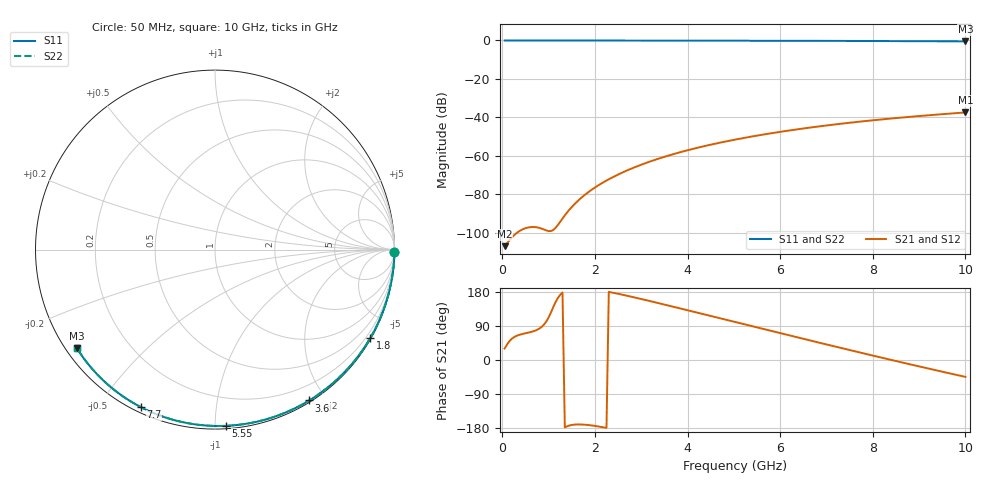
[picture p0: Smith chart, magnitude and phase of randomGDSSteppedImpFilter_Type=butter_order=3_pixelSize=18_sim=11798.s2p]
! freq	dB(S11)	phase(S11)	dB(S12)	phase(S12)
!  dB(S21)	phase(S21)	dB(S22)	phase(S22)
!S-par simulation data
#  GHz  S  DB  R 50
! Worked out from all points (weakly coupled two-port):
!   200 points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, 50 MHz to 10 GHz, reference 50 ohm
!   highest |S21| = -37.46 dB at 10 GHz (marker M1); lowest = -107.0 dB at 50 MHz (marker M2)
!   lowest |S11| = -0.5 dB at 10 GHz (marker M3), VSWR 35.49, Z = 1.55 - j15.9 ohm
!   |S11| at or under -10 dB: nowhere
!   |S22| runs from -0.5 to 0.0 dB; largest |S21 - S12| = 0
!   S11 on the Smith chart (normalised r, x): 50 MHz: open; 1.8 GHz: 0.03, -3.77; 3.6 GHz: 0.02, -1.80; 5.55 GHz: 0.02, -1.06; 7.7 GHz: 0.02, -0.63; 10 GHz: 0.03, -0.32
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0.05  -0.00 -0.8  -107.04 30.3  -107.04 30.3  -0.00 -0.8
0.45  -0.01 -7.6  -98.16 69.1  -98.16 69.1  -0.01 -7.6
0.9  -0.02 -15.0  -98.37 93.4  -98.37 93.4  -0.02 -15.0
1.3  -0.03 -21.6  -92.65 177.9  -92.65 177.9  -0.03 -21.6
1.75  -0.04 -28.9  -80.96 -170.5  -80.96 -170.5  -0.04 -28.9
1.8  -0.04 -29.7  -79.99 -170.9  -79.99 -170.9  -0.04 -29.7
1.95  -0.04 -32.2  -77.34 -173.0  -77.34 -173.0  -0.04 -32.2
2.1  -0.04 -34.6  -75.00 -175.8  -75.00 -175.8  -0.04 -34.6
2.3  -0.05 -37.8  -72.23 179.7  -72.23 179.7  -0.05 -37.8
2.5  -0.05 -40.9  -69.78 174.7  -69.78 174.7  -0.05 -41.0
2.9  -0.06 -47.2  -65.58 163.8  -65.58 163.8  -0.06 -47.2
3.4  -0.07 -55.0  -61.30 149.3  -61.30 149.3  -0.07 -55.0
3.6  -0.08 -58.0  -59.81 143.3  -59.81 143.3  -0.08 -58.0
4.3  -0.10 -68.5  -55.34 122.2  -55.34 122.2  -0.10 -68.5
5.05  -0.12 -79.3  -51.49 99.4  -51.49 99.4  -0.12 -79.4
5.55  -0.14 -86.4  -49.31 84.4  -49.31 84.4  -0.14 -86.4
6.1  -0.17 -94.0  -47.19 67.8  -47.19 67.8  -0.17 -94.0
6.7  -0.20 -102.1  -45.15 49.9  -45.15 49.9  -0.20 -102.1
7.7  -0.26 -115.2  -42.29 20.4  -42.29 20.4  -0.26 -115.2
8.35  -0.32 -123.6  -40.72 1.6  -40.72 1.6  -0.32 -123.6
9.2  -0.40 -134.4  -38.94 -22.5  -38.94 -22.5  -0.40 -134.4
10  -0.49 -144.6  -37.46 -44.5  -37.46 -44.5  -0.49 -144.6
